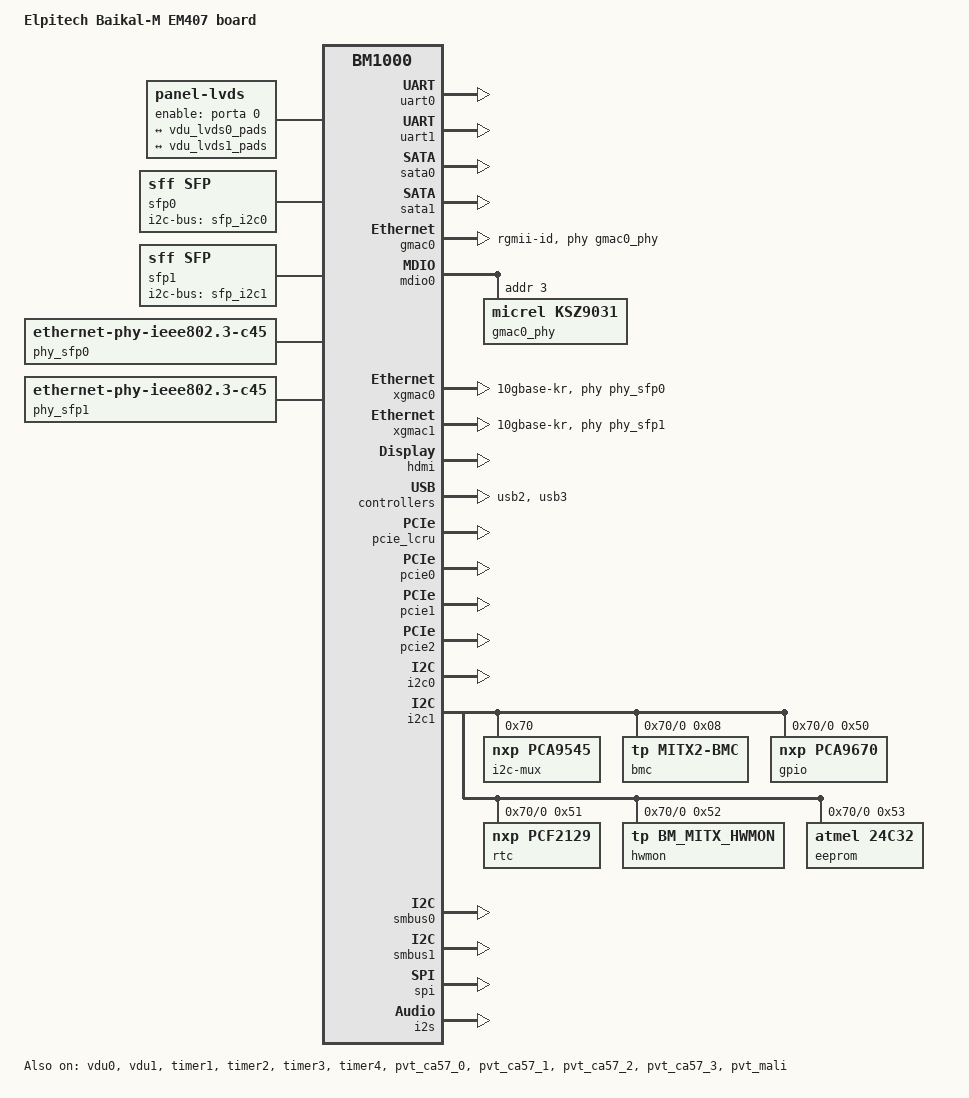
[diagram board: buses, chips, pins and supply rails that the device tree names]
// SPDX-License-Identifier: GPL-2.0
/*
 * Elpitech Baikal-M EM407 module device tree
 *
 */

/dts-v1/;

#include "bm1000.dtsi"

/ {

	model = "Elpitech Baikal-M EM407 board";
	compatible = "baikal,baikal-m";
	#address-cells = <2>;
	#size-cells = <2>;

	aliases {
		ethernet0 = &gmac0;
		ethernet1 = &gmac1;
	};

	chosen { };

	panel {
		compatible = "panel-lvds";
		width-mm = <223>;
		height-mm = <125>;
		data-mapping = "vesa-24";
		enable-gpios = <&porta 0 GPIO_ACTIVE_HIGH>;
		panel-timing {
		// 1920x1080 @60Hz
			clock-frequency = <148500000>;
			hactive = <1920>;
			vactive = <1080>;
			hsync-len = <44>;
			hfront-porch = <88>;
			hback-porch = <148>;
			vsync-len = <5>;
			vfront-porch = <4>;
			vback-porch = <36>;
		};
		port {
			#address-cells = <1>;
			#size-cells = <0>;
			panel0_lvds0: endpoint@0 {
				reg = <0>;
				remote-endpoint = <&vdu_lvds0_pads>;
			};
			panel0_lvds1: endpoint@1 {
				reg = <1>;
				remote-endpoint = <&vdu_lvds1_pads>;
			};
		};
	};

	sfp0: sfp0 {
		compatible = "sff,sfp";
		i2c-bus = <&sfp_i2c0>;
//???		mod-def0-gpios = <&porta 19 GPIO_ACTIVE_LOW>;
	};
	sfp1: sfp1 {
		compatible = "sff,sfp";
		i2c-bus = <&sfp_i2c1>;
//???		mod-def0-gpios = <&porta 20 GPIO_ACTIVE_LOW>;
	};
	phy_sfp0: xphy0 {
		compatible = "ethernet-phy-ieee802.3-c45";
		amd,speed-set = <0>;
		sfp = <&sfp0>;
	};
	phy_sfp1: xphy1 {
		compatible = "ethernet-phy-ieee802.3-c45";
		amd,speed-set = <0>;
		sfp = <&sfp1>;
	};
};

&uart0 {
	status = "okay";
};

&uart1 {
	status = "okay";
};

&sata0 {
	status = "okay";
};

&sata1 {
	status = "okay";
};

&gmac0 {
	status = "okay";
	clk_csr = <0x3>;
	phy-mode = "rgmii-id";
	phy-handle = <&gmac0_phy>;
};

&mdio0 {
	gmac0_phy: ethernet-phy@3 {
		compatible = "micrel,ksz9031", "ethernet-phy-id0022.1620", "ethernet-phy-ieee802.3-c22";
		reg = <0x3>;
		txd0-skew-ps = <0>;
		txd1-skew-ps = <0>;
		txd2-skew-ps = <0>;
		txd3-skew-ps = <0>;
		txc-skew-ps  = <0xff>;
	};
};

&xgmac0 {
	status = "okay";
	phy-handle = <&phy_sfp0>;
	phy-mode = "10gbase-kr";
	dma-coherent;
};

&xgmac1 {
	status = "okay";
	phy-handle = <&phy_sfp1>;
	phy-mode = "10gbase-kr";
	dma-coherent;
};

&vdu0 {
	status = "okay";
	num-lanes = <2>;
	port {
		#address-cells = <1>;
		#size-cells = <0>;
		vdu_lvds0_pads: endpoint@0 {
			reg = <0>;
			remote-endpoint = <&panel0_lvds0>;
		};
		vdu_lvds1_pads: endpoint@1 {
			reg = <1>;
			remote-endpoint = <&panel0_lvds1>;
		};
	};
};

&hdmi {
	status = "okay";
};

&vdu1 {
	status = "okay";
};

&gpio32 {
	status = "okay";
};

&usb2 {
	status = "okay";
};

&usb3 {
	status = "okay";
};

&pcie_lcru {
	status = "okay";
};

&pcie0 {
	status = "okay";
};

&pcie1 {
	status = "okay";
};

&pcie2 {
	status = "okay";
};

&timer1 {
	status = "okay";
};

&timer2 {
	status = "okay";
};

&timer3 {
	status = "okay";
};

&timer4 {
	status = "okay";
};

&pvt_ca57_0 {
	status = "okay";
};

&pvt_ca57_1 {
	status = "okay";
};

&pvt_ca57_2 {
	status = "okay";
};

&pvt_ca57_3 {
	status = "okay";
};

&pvt_mali {
	status = "okay";
};

&i2c0 {
	status = "okay";
};

&i2c1 {
	status = "okay";

	i2c-mux@70 {
		compatible = "nxp,pca9545";
		#address-cells = <1>;
		#size-cells = <0>;
		reg = <0x70>;

		i2c@0 { /* EC_I2C */
			#address-cells = <1>;
			#size-cells = <0>;
			reg = <0>;

			bmc@8 {
				compatible = "tp,mitx2-bmc", "t-platforms,mitx2-bmc";
				reg = <0x08>;
			};

			gpio@50 {
				compatible = "nxp,pca9670";
				#gpio-cells = <2>;
				gpio-controller;
				reg = <0x50>;
			};

			rtc@51 {
				compatible = "nxp,pcf2129", "nxp,pcf2127";
				reg = <0x51>;
			};

			hwmon@52 {
				compatible = "tp,bm_mitx_hwmon";
				reg = <0x52>;
			};

			eeprom@53 {
				compatible = "atmel,24c32";
				pagesize = <32>;
				reg = <0x53>;
			};
		};

		sfp_i2c0: i2c@2 { /* XGBE0 SFP */
			#address-cells = <1>;
			#size-cells = <0>;
			reg = <2>;
		};

		sfp_i2c1: i2c@3 { /* XGBE1 SFP */
			#address-cells = <1>;
			#size-cells = <0>;
			reg = <3>;
		};

		lvds_i2c: i2c@4 { /* LVDS I2C */
			#address-cells = <1>;
			#size-cells = <0>;
			reg = <4>;
		};
	};
};

&smbus0 {
	status = "okay";
};

&smbus1 {
	status = "okay";
};

&spi {
	num-cs = <4>;

	cs-gpios = <0>;
	status = "okay";

};

&i2s {
	status = "okay";
	system-clock-frequency = <12000000>;
	#sound-dai-cells = <0>;
};

